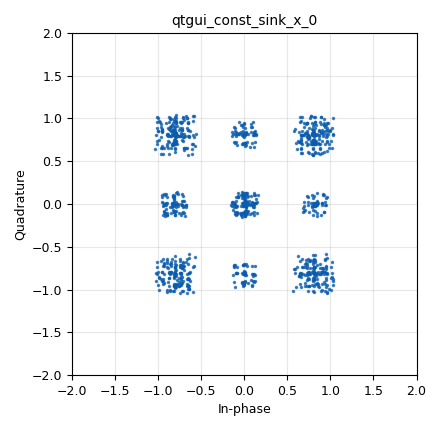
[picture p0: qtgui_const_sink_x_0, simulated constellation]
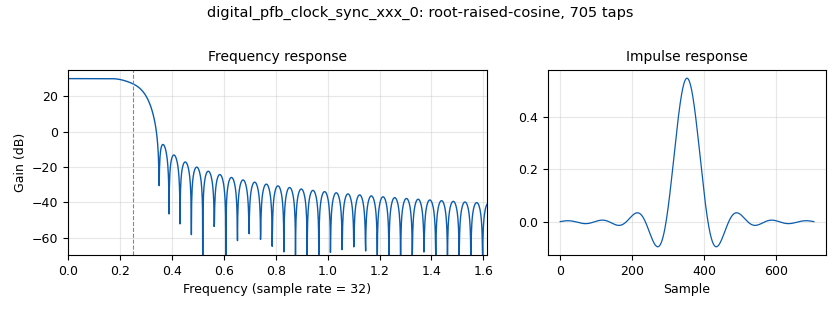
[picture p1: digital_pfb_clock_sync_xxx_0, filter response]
<?xml version='1.0' encoding='utf-8'?>
<?grc format='1' created='3.7.11'?>
<flow_graph>
<block>
<key>options</key>
<param><key>id</key><value>top_block</value></param>
<param><key>generate_options</key><value>qt_gui</value></param>
</block>
<block>
<key>variable</key>
<param><key>id</key><value>nfilts</value></param>
<param><key>value</key><value>32</value></param>
</block>
<block>
<key>variable_constellation_rect</key>
<param><key>id</key><value>qpsk</value></param>
<param><key>const_points</key><value>[0.707+0.707j, -0.707+0.707j, -0.707-0.707j, 0.707-0.707j]</value></param>
<param><key>imag_sect</key><value>2</value></param>
<param><key>real_sect</key><value>2</value></param>
<param><key>rot_sym</key><value>4</value></param>
<param><key>sym_map</key><value>[0, 1, 2, 3]</value></param>
<param><key>w_imag_sect</key><value>1</value></param>
<param><key>w_real_sect</key><value>1</value></param>
</block>
<block>
<key>variable</key>
<param><key>id</key><value>rrc_taps</value></param>
<param><key>value</key><value>firdes.root_raised_cosine(nfilts, nfilts, 1.0/float(sps), 0.35, 11*sps*nfilts)</value></param>
</block>
<block>
<key>variable</key>
<param><key>id</key><value>samp_rate</value></param>
<param><key>value</key><value>80000</value></param>
</block>
<block>
<key>variable</key>
<param><key>id</key><value>sps</value></param>
<param><key>value</key><value>2</value></param>
</block>
<block>
<key>analog_random_source_x</key>
<param><key>id</key><value>analog_random_source_x_0</value></param>
<param><key>max</key><value>256</value></param>
<param><key>min</key><value>0</value></param>
<param><key>num_samps</key><value>10000</value></param>
<param><key>type</key><value>byte</value></param>
<param><key>repeat</key><value>True</value></param>
</block>
<block>
<key>digital_cma_equalizer_cc</key>
<param><key>id</key><value>digital_cma_equalizer_cc_0</value></param>
<param><key>mu</key><value>10e-3</value></param>
<param><key>modulus</key><value>1</value></param>
<param><key>num_taps</key><value>15</value></param>
<param><key>sps</key><value>2</value></param>
</block>
<block>
<key>digital_constellation_modulator</key>
<param><key>id</key><value>digital_constellation_modulator_0</value></param>
<param><key>constellation</key><value>qpsk</value></param>
<param><key>differential</key><value>True</value></param>
<param><key>excess_bw</key><value>500e-3</value></param>
<param><key>samples_per_symbol</key><value>2</value></param>
</block>
<block>
<key>digital_costas_loop_cc</key>
<param><key>id</key><value>digital_costas_loop_cc_1</value></param>
<param><key>w</key><value>62.8e-3</value></param>
<param><key>order</key><value>4</value></param>
</block>
<block>
<key>digital_pfb_clock_sync_xxx</key>
<param><key>id</key><value>digital_pfb_clock_sync_xxx_0</value></param>
<param><key>filter_size</key><value>32</value></param>
<param><key>init_phase</key><value>16</value></param>
<param><key>loop_bw</key><value>62.8e-3</value></param>
<param><key>max_dev</key><value>1.5</value></param>
<param><key>osps</key><value>2</value></param>
<param><key>sps</key><value>4</value></param>
<param><key>taps</key><value>rrc_taps</value></param>
<param><key>type</key><value>ccf</value></param>
</block>
<block>
<key>qtgui_const_sink_x</key>
<param><key>id</key><value>qtgui_const_sink_x_0</value></param>
<param><key>size</key><value>1024</value></param>
<param><key>type</key><value>complex</value></param>
</block>
<block>
<key>qtgui_const_sink_x</key>
<param><key>id</key><value>qtgui_const_sink_x_1</value></param>
<param><key>size</key><value>1024</value></param>
<param><key>type</key><value>complex</value></param>
</block>
<block>
<key>uhd_usrp_sink</key>
<param><key>id</key><value>uhd_usrp_sink_0</value></param>
<param><key>ant0</key><value></value></param>
<param><key>center_freq0</key><value>0</value></param>
<param><key>norm_gain0</key><value>False</value></param>
<param><key>gain0</key><value>100</value></param>
<param><key>clock_rate</key><value>0.0</value></param>
<param><key>dev_args</key><value>""</value></param>
<param><key>type</key><value>fc32</value></param>
<param><key>samp_rate</key><value>samp_rate</value></param>
<param><key>hide_cmd_port</key><value>False</value></param>
<param><key>hide_lo_controls</key><value>True</value></param>
<param><key>sync</key><value></value></param>
<param><key>len_tag_name</key><value></value></param>
</block>
<block>
<key>uhd_usrp_source</key>
<param><key>id</key><value>uhd_usrp_source_0</value></param>
<param><key>ant0</key><value></value></param>
<param><key>center_freq0</key><value>0</value></param>
<param><key>dc_offs_enb0</key><value>""</value></param>
<param><key>iq_imbal_enb0</key><value>""</value></param>
<param><key>norm_gain0</key><value>False</value></param>
<param><key>gain0</key><value>100</value></param>
<param><key>clock_rate</key><value>0.0</value></param>
<param><key>dev_args</key><value>""</value></param>
<param><key>type</key><value>fc32</value></param>
<param><key>samp_rate</key><value>samp_rate</value></param>
<param><key>hide_cmd_port</key><value>False</value></param>
<param><key>hide_lo_controls</key><value>True</value></param>
<param><key>sync</key><value></value></param>
</block>
<connection><source_block_id>analog_random_source_x_0</source_block_id><sink_block_id>digital_constellation_modulator_0</sink_block_id><source_key>0</source_key><sink_key>0</sink_key></connection>
<connection><source_block_id>digital_cma_equalizer_cc_0</source_block_id><sink_block_id>digital_costas_loop_cc_1</sink_block_id><source_key>0</source_key><sink_key>0</sink_key></connection>
<connection><source_block_id>digital_constellation_modulator_0</source_block_id><sink_block_id>qtgui_const_sink_x_0</sink_block_id><source_key>0</source_key><sink_key>0</sink_key></connection>
<connection><source_block_id>digital_constellation_modulator_0</source_block_id><sink_block_id>uhd_usrp_sink_0</sink_block_id><source_key>0</source_key><sink_key>0</sink_key></connection>
<connection><source_block_id>digital_costas_loop_cc_1</source_block_id><sink_block_id>qtgui_const_sink_x_1</sink_block_id><source_key>0</source_key><sink_key>0</sink_key></connection>
<connection><source_block_id>digital_pfb_clock_sync_xxx_0</source_block_id><sink_block_id>digital_cma_equalizer_cc_0</sink_block_id><source_key>0</source_key><sink_key>0</sink_key></connection>
<connection><source_block_id>uhd_usrp_source_0</source_block_id><sink_block_id>digital_pfb_clock_sync_xxx_0</sink_block_id><source_key>0</source_key><sink_key>0</sink_key></connection>
</flow_graph>
